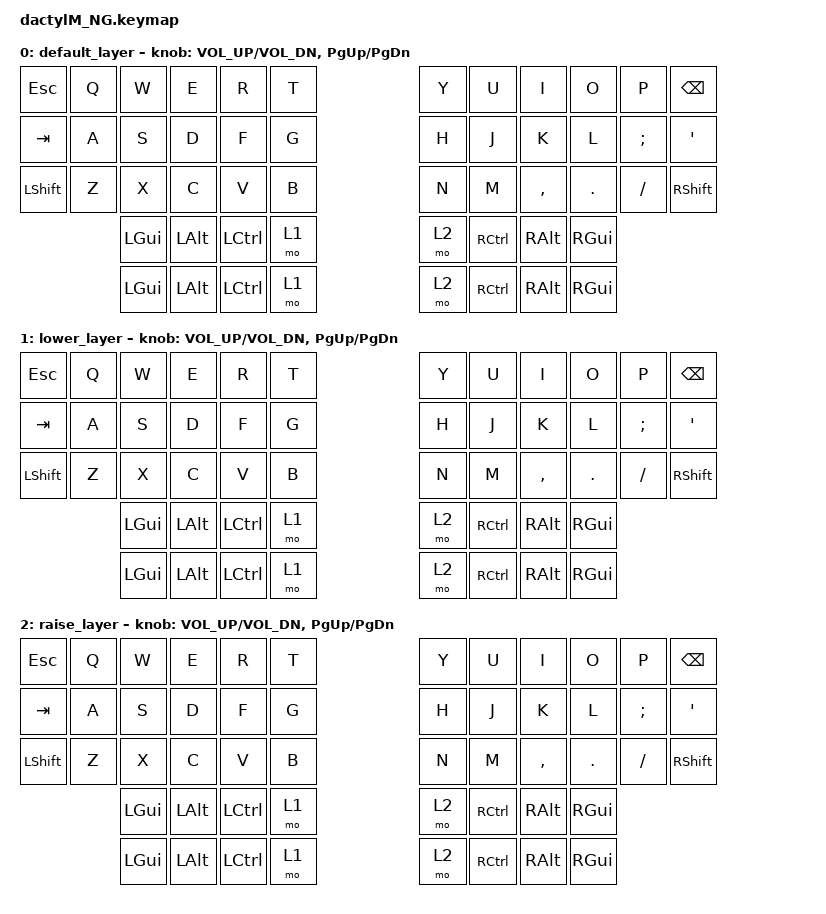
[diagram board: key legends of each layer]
/*
 * Copyright (c) 2020 The ZMK Contributors
 *
 * SPDX-License-Identifier: MIT
 */
/**/

#include <behaviors.dtsi>
#include <dt-bindings/zmk/keys.h>
#include <dt-bindings/zmk/bt.h>

/ {
    keymap {
        compatible = "zmk,keymap";

        default_layer {
// ------------------------------------------------------------------------------------------------------------
// |  `    |  1  |  2  |  3   |  4   |  5   |                   |  6   |  7    |  8    |  9   |   0   |       |
// |  ESC  |  Q  |  W  |  E   |  R   |  T   |                   |  Y   |  U    |  I    |  O   |   P   | BKSPC |
// |  TAB  |  A  |  S  |  D   |  F   |  G   |                   |  H   |  J    |  K    |  L   |   ;   |   '   |
// | SHIFT |  Z  |  X  |  C   |  V   |  B   |  MUTE  |  |       |  N   |  M    |  ,    |  .   |   /   | SHIFT |
//               | GUI | ALT  | CTRL | LOWER|  ENTER |  | SPACE | RAISE| CTRL  | ALT   | GUI  |
            bindings = <
&kp ESC   &kp Q  &kp W    &kp E    &kp R     &kp T                       &kp Y  &kp U     &kp I     &kp O    &kp P    &kp BSPC
&kp TAB   &kp A  &kp S    &kp D    &kp F     &kp G                       &kp H  &kp J     &kp K     &kp L    &kp SEMI &kp SQT
&kp LSHFT &kp Z  &kp X    &kp C    &kp V     &kp B                       &kp N  &kp M     &kp COMMA &kp DOT  &kp FSLH &kp RSHFT
                 &kp LGUI &kp LALT &kp LCTRL &mo 1                       &mo 2  &kp RCTRL &kp RALT  &kp RGUI
                 &kp LGUI &kp LALT &kp LCTRL &mo 1                       &mo 2  &kp RCTRL &kp RALT  &kp RGUI                 
            >;

            sensor-bindings = <&inc_dec_kp C_VOL_UP C_VOL_DN &inc_dec_kp PG_UP PG_DN>;
        };

        lower_layer {
// TODO: Some binds are waiting for shifted keycode support.
// ------------------------------------------------------------------------------------------------------------
// |       |  F1 |  F2 |  F3  |  F4  |  F5  |                   |  F6  |  F7   |  F8   |  F9  |  F10  |  F11  |
// | `     |   1 |   2 |   3  |   4  |   5  |                   |   6  |   7   |   8   |   9  |    0  |  F12  |
// |       |  !  |  @  |  #   |  $   |  %   |                   |  ^   |  &    |  *    |  (   |   )   |   |   |
// |       |  =  |  -  |  +   |  {   |  }   |        |  |       |  [   |  ]    |  ;    |  :   |   \   |       |
//               |     |      |      |      |        |  |       |      |       |       |      |
           bindings = < 
&kp ESC   &kp Q  &kp W    &kp E    &kp R     &kp T                       &kp Y  &kp U     &kp I     &kp O    &kp P    &kp BSPC
&kp TAB   &kp A  &kp S    &kp D    &kp F     &kp G                       &kp H  &kp J     &kp K     &kp L    &kp SEMI &kp SQT
&kp LSHFT &kp Z  &kp X    &kp C    &kp V     &kp B                       &kp N  &kp M     &kp COMMA &kp DOT  &kp FSLH &kp RSHFT
                 &kp LGUI &kp LALT &kp LCTRL &mo 1                       &mo 2  &kp RCTRL &kp RALT  &kp RGUI
                 &kp LGUI &kp LALT &kp LCTRL &mo 1                       &mo 2  &kp RCTRL &kp RALT  &kp RGUI                 
            >;
            sensor-bindings = <&inc_dec_kp C_VOL_UP C_VOL_DN &inc_dec_kp PG_UP PG_DN>;
        };

        raise_layer {
// ------------------------------------------------------------------------------------------------------------
// |BTCLR| BT1  | BT2  |  BT3  |  BT4  |  BT5 |                |      |      |       |      |       |       |
// |     | INS  | PSCR | GUI   |       |      |                | PGUP |      |   ^   |      |       |       |
// |     | ALT  | CTRL | SHIFT |       | CAPS |                | PGDN |   <- |   v   |  ->  |  DEL  | BKSPC |
// |     | UNDO | CUT  | COPY  | PASTE |      |      |  |      |      |      |       |      |       |       |
//              |      |       |       |      |      |  |      |      |      |       |      |
           bindings = <
&kp ESC   &kp Q  &kp W    &kp E    &kp R     &kp T                       &kp Y  &kp U     &kp I     &kp O    &kp P    &kp BSPC
&kp TAB   &kp A  &kp S    &kp D    &kp F     &kp G                       &kp H  &kp J     &kp K     &kp L    &kp SEMI &kp SQT
&kp LSHFT &kp Z  &kp X    &kp C    &kp V     &kp B                       &kp N  &kp M     &kp COMMA &kp DOT  &kp FSLH &kp RSHFT
                 &kp LGUI &kp LALT &kp LCTRL &mo 1                       &mo 2  &kp RCTRL &kp RALT  &kp RGUI
                 &kp LGUI &kp LALT &kp LCTRL &mo 1                       &mo 2  &kp RCTRL &kp RALT  &kp RGUI                 
            >;
            sensor-bindings = <&inc_dec_kp C_VOL_UP C_VOL_DN &inc_dec_kp PG_UP PG_DN>;
        };
    };
};
